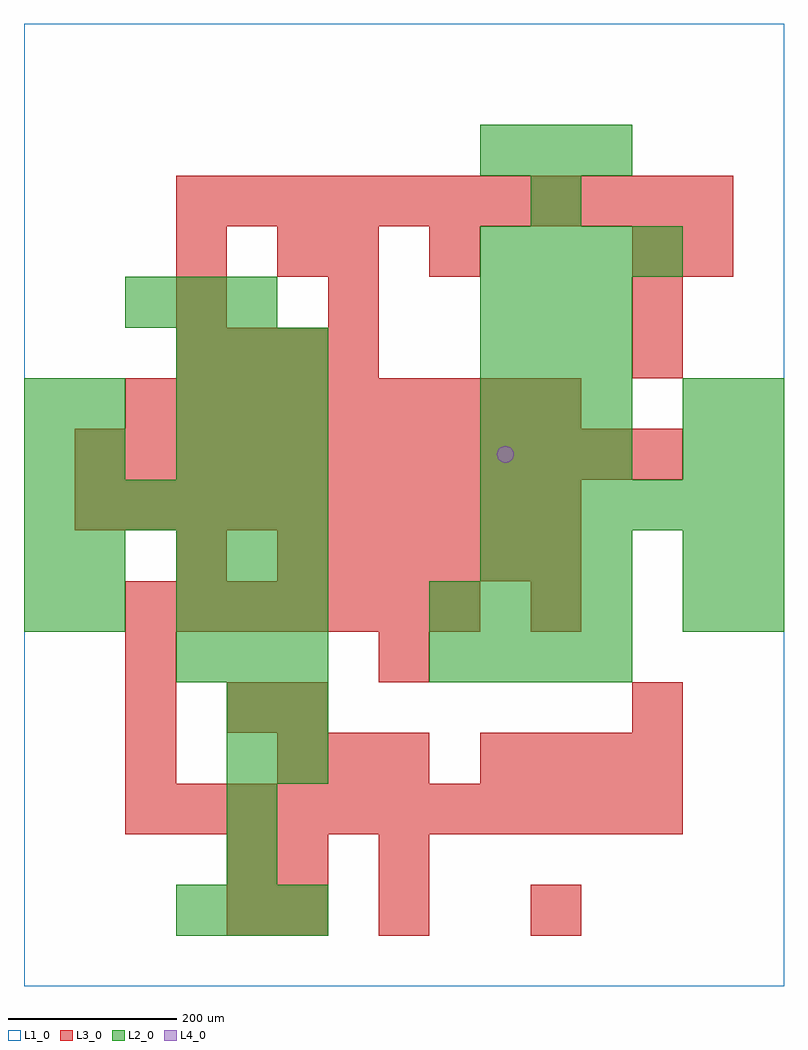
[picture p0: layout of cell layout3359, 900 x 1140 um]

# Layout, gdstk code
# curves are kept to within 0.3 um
import gdstk
lib = gdstk.Library(unit=1e-6, precision=1e-09)
def R(c, l, rs):  # rectangles x0, y0, x1, y1
    for r in rs: c.add(gdstk.rectangle(r[:2], r[2:], *l))
def A(c, l, x, y, w, h, nx, ny, dx, dy):  # array of equal rectangles
    R(c, l, [(x+i*dx, y+j*dy, x+i*dx+w, y+j*dy+h) for i in range(nx) for j in range(ny)])
def P(c, l, *ps):  # polygons
    for p in ps: c.add(gdstk.Polygon(p, *l))
L1_0 = (1, 0)
L2_0 = (2, 0)
L3_0 = (3, 0)
L4_0 = (4, 0)

layout3359 = lib.new_cell('layout3359')
R(layout3359, L1_0, [(0,0,900,1140)])
A(layout3359, L2_0, 180, 60, 60, 60, 3, 2, 60, 300)
A(layout3359, L2_0, 240, 120, 60, 60, 1, 4, 0, 60)
A(layout3359, L2_0, 480, 360, 60, 60, 4, 2, 60, 60)
A(layout3359, L2_0, 180, 420, 60, 60, 3, 2, 60, 60)
A(layout3359, L2_0, 540, 480, 60, 60, 3, 2, 60, 120)
A(layout3359, L2_0, 0, 540, 60, 60, 6, 1, 60, 0)
A(layout3359, L2_0, 540, 540, 60, 60, 6, 1, 60, 0)
A(layout3359, L2_0, 180, 600, 60, 60, 3, 3, 60, 60)
A(layout3359, L2_0, 540, 660, 60, 60, 3, 3, 60, 60)
A(layout3359, L2_0, 120, 780, 60, 60, 3, 1, 60, 0)
A(layout3359, L2_0, 540, 840, 60, 60, 4, 1, 60, 0)
A(layout3359, L2_0, 540, 960, 60, 60, 3, 1, 60, 0)
R(layout3359, L2_0, [(300,240,360,300), (300,300,360,360), (0,420,60,480), (60,420,120,480), (780,420,840,480), (840,420,900,480), (0,480,60,540), (60,480,120,540), (780,480,840,540), (840,480,900,540), (0,600,60,660), (60,600,120,660), (780,600,840,660), (840,600,900,660), (0,660,60,720), (60,660,120,720), (780,660,840,720), (840,660,900,720), (600,900,660,960)])
A(layout3359, L3_0, 120, 180, 60, 60, 11, 1, 60, 0)
A(layout3359, L3_0, 120, 240, 60, 60, 1, 3, 0, 60)
A(layout3359, L3_0, 300, 240, 60, 60, 3, 1, 60, 0)
A(layout3359, L3_0, 540, 240, 60, 60, 4, 1, 60, 0)
A(layout3359, L3_0, 120, 420, 60, 60, 7, 1, 60, 0)
A(layout3359, L3_0, 300, 480, 60, 60, 6, 1, 60, 0)
A(layout3359, L3_0, 60, 540, 60, 60, 10, 1, 60, 0)
A(layout3359, L3_0, 60, 600, 60, 60, 12, 1, 60, 0)
A(layout3359, L3_0, 120, 660, 60, 60, 9, 1, 60, 0)
A(layout3359, L3_0, 180, 720, 60, 60, 4, 1, 60, 0)
A(layout3359, L3_0, 720, 720, 60, 60, 1, 3, 0, 60)
A(layout3359, L3_0, 180, 900, 60, 60, 11, 1, 60, 0)
R(layout3359, L3_0, [(240,60,300,120), (300,60,360,120), (420,60,480,120), (600,60,660,120), (240,120,300,180), (300,120,360,180), (420,120,480,180), (240,300,300,360), (300,300,360,360), (720,300,780,360), (420,360,480,420), (600,420,660,480), (180,480,240,540), (180,780,240,840), (360,780,420,840), (180,840,240,900), (300,840,360,900), (360,840,420,900), (480,840,540,900), (780,840,840,900)])
P(layout3359, L4_0, [(580,630),(579.239,633.827),(577.071,637.071),(573.827,639.239),(570,640),(566.173,639.239),(562.929,637.071),(560.761,633.827),(560,630),(560.761,626.173),(562.929,622.929),(566.173,620.761),(570,620),(573.827,620.761),(577.071,622.929),(579.239,626.173)])

lib.write_gds('layout3359.gds')
